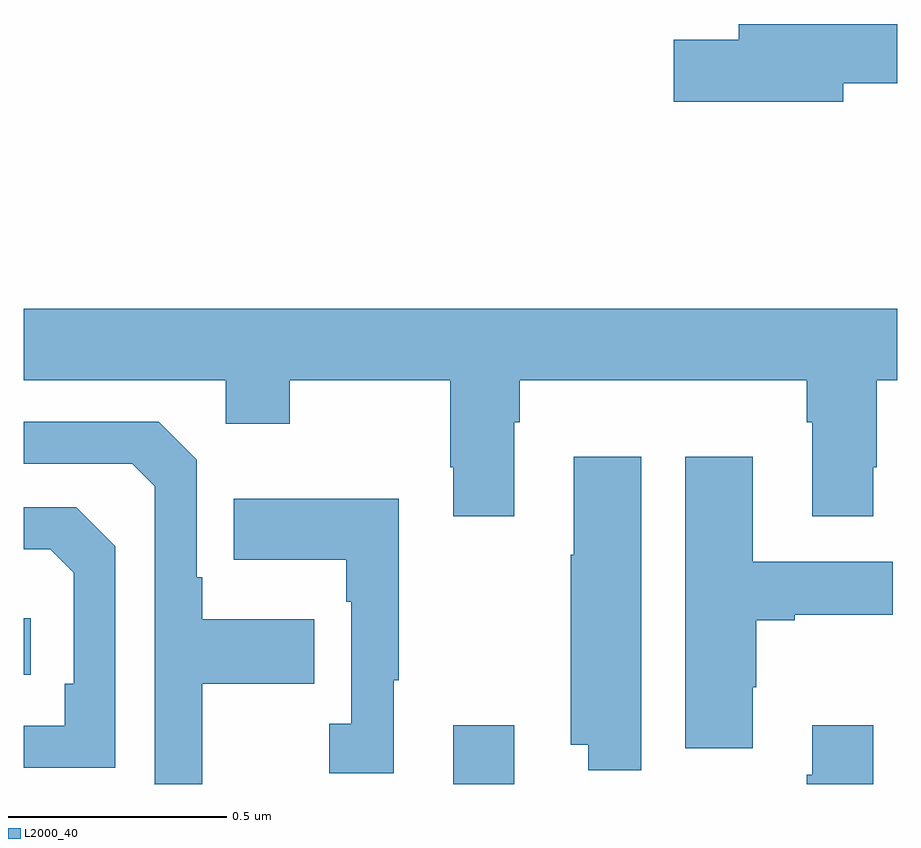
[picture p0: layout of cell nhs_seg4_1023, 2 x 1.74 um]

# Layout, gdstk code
import gdstk
lib = gdstk.Library(unit=1e-6, precision=1e-09)
def R(c, l, rs):  # rectangles x0, y0, x1, y1
    for r in rs: c.add(gdstk.rectangle(r[:2], r[2:], *l))
def P(c, l, *ps):  # polygons
    for p in ps: c.add(gdstk.Polygon(p, *l))
L2000_40 = (2000, 40)

nhs_seg4_1023 = lib.new_cell('nhs_seg4_1023')
R(nhs_seg4_1023, L2000_40, [(123.983,791.9,124.123,792.034), (123,792.15,123.016,792.28)])
P(nhs_seg4_1023, L2000_40, [(124.876,793.504),(125,793.504),(125,793.64),(124.637,793.64),(124.637,793.604),(124.488,793.604),(124.488,793.462),(124.876,793.462)],
  [(124.123,792.728),(124.136,792.728),(124.136,792.824),(124.793,792.824),(124.793,792.728),(124.805,792.728),(124.805,792.513),(124.945,792.513),(124.945,792.625),(124.953,792.625),(124.953,792.824),(125,792.824),(125,792.988),(123,792.988),(123,792.824),(123.462,792.824),(123.462,792.725),(123.609,792.725),(123.609,792.824),(123.976,792.824),(123.976,792.625),(123.983,792.625),(123.983,792.513),(124.123,792.513)],
  [(123.409,792.13),(123.665,792.13),(123.665,792.277),(123.409,792.277),(123.409,792.373),(123.396,792.373),(123.396,792.642),(123.309,792.729),(123,792.729),(123,792.633),(123.249,792.633),(123.3,792.582),(123.3,791.901),(123.299,791.9),(123.409,791.9)],
  [(124.669,792.121),(124.677,792.121),(124.677,792.275),(124.765,792.275),(124.765,792.287),(124.99,792.287),(124.99,792.409),(124.669,792.409),(124.669,792.649),(124.514,792.649),(124.514,791.982),(124.669,791.982)],
  [(124.414,792.649),(124.259,792.649),(124.259,792.425),(124.252,792.425),(124.252,791.99),(124.292,791.99),(124.292,791.931),(124.414,791.931)],
  [(123.847,792.137),(123.859,792.137),(123.859,792.553),(123.481,792.553),(123.481,792.413),(123.738,792.413),(123.738,792.317),(123.75,792.317),(123.75,792.038),(123.699,792.038),(123.699,791.925),(123.847,791.925)],
  [(123.21,792.444),(123.12,792.534),(123,792.534),(123,792.437),(123.061,792.437),(123.114,792.384),(123.114,792.13),(123.094,792.13),(123.094,792.033),(123,792.033),(123,791.937),(123.21,791.937)],
  [(124.945,792.034),(124.805,792.034),(124.805,791.921),(124.793,791.921),(124.793,791.9),(124.945,791.9)])

lib.write_gds('nhs_seg4_1023.gds')
